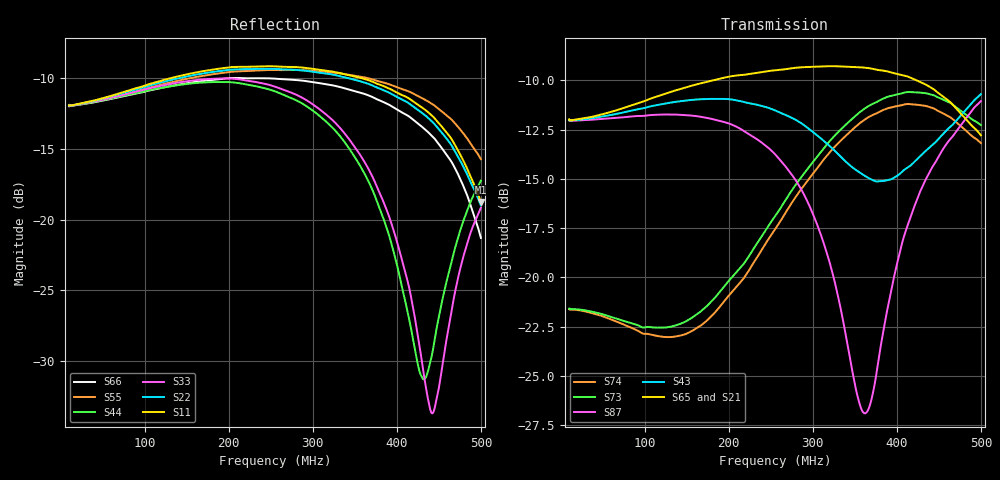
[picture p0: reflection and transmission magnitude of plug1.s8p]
!Agilent Technologies,M9370A,MY54322275,A.02.50.04
!Agilent M9370A: A.02.50.04
!Date: Friday, August 17, 2018 12:54:49
!Correction: S11(Full 8 Port(1,2,3,4,5,6,7,8))
!S12(Full 8 Port(1,2,3,4,5,6,7,8))
!S13(Full 8 Port(1,2,3,4,5,6,7,8))
!S14(Full 8 Port(1,2,3,4,5,6,7,8))
!S15(Full 8 Port(1,2,3,4,5,6,7,8))
!S16(Full 8 Port(1,2,3,4,5,6,7,8))
!S17(Full 8 Port(1,2,3,4,5,6,7,8))
!S18(Full 8 Port(1,2,3,4,5,6,7,8))
!S21(Full 8 Port(1,2,3,4,5,6,7,8))
!S22(Full 8 Port(1,2,3,4,5,6,7,8))
!S23(Full 8 Port(1,2,3,4,5,6,7,8))
!S24(Full 8 Port(1,2,3,4,5,6,7,8))
!S25(Full 8 Port(1,2,3,4,5,6,7,8))
!S26(Full 8 Port(1,2,3,4,5,6,7,8))
!S27(Full 8 Port(1,2,3,4,5,6,7,8))
!S28(Full 8 Port(1,2,3,4,5,6,7,8))
!S31(Full 8 Port(1,2,3,4,5,6,7,8))
!S32(Full 8 Port(1,2,3,4,5,6,7,8))
!S33(Full 8 Port(1,2,3,4,5,6,7,8))
!S34(Full 8 Port(1,2,3,4,5,6,7,8))
!S35(Full 8 Port(1,2,3,4,5,6,7,8))
!S36(Full 8 Port(1,2,3,4,5,6,7,8))
!S37(Full 8 Port(1,2,3,4,5,6,7,8))
!S38(Full 8 Port(1,2,3,4,5,6,7,8))
!S41(Full 8 Port(1,2,3,4,5,6,7,8))
!S42(Full 8 Port(1,2,3,4,5,6,7,8))
!S43(Full 8 Port(1,2,3,4,5,6,7,8))
!S44(Full 8 Port(1,2,3,4,5,6,7,8))
!S45(Full 8 Port(1,2,3,4,5,6,7,8))
!S46(Full 8 Port(1,2,3,4,5,6,7,8))
!S47(Full 8 Port(1,2,3,4,5,6,7,8))
!S48(Full 8 Port(1,2,3,4,5,6,7,8))
!S51(Full 8 Port(1,2,3,4,5,6,7,8))
!S52(Full 8 Port(1,2,3,4,5,6,7,8))
!S53(Full 8 Port(1,2,3,4,5,6,7,8))
!S54(Full 8 Port(1,2,3,4,5,6,7,8))
!S55(Full 8 Port(1,2,3,4,5,6,7,8))
!S56(Full 8 Port(1,2,3,4,5,6,7,8))
!S57(Full 8 Port(1,2,3,4,5,6,7,8))
!S58(Full 8 Port(1,2,3,4,5,6,7,8))
!S61(Full 8 Port(1,2,3,4,5,6,7,8))
!S62(Full 8 Port(1,2,3,4,5,6,7,8))
!S63(Full 8 Port(1,2,3,4,5,6,7,8))
!S64(Full 8 Port(1,2,3,4,5,6,7,8))
!S65(Full 8 Port(1,2,3,4,5,6,7,8))
!S66(Full 8 Port(1,2,3,4,5,6,7,8))
!S67(Full 8 Port(1,2,3,4,5,6,7,8))
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# Hz S  RI  R 50
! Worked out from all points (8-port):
!   1000 points, 10 MHz to 500 MHz, reference 50 ohm
!   strongest paths, dB at 10 MHz, 132.6 MHz, 255.2 MHz, 377.9 MHz, 500 MHz:
!     S65: -12.0, -10.6, -9.5, -9.5, -12.8
!     S21: -12.0, -10.6, -9.6, -9.5, -12.4
!     S43: -12.0, -11.1, -11.5, -15.1, -10.7
!     S87: -12.0, -11.7, -13.8, -24.3, -11.1
!     S73: -21.6, -22.5, -16.9, -11.1, -12.3
!     S74: -21.6, -23.0, -17.6, -11.6, -13.2
!   lowest |S11| = -18.8 dB at 500 MHz (marker M1), VSWR 1.26, Z = 55.2 - j11 ohm
!   |S11| at or under -10 dB: start of sweep to 131.2 MHz; 357.8 MHz to end of sweep
